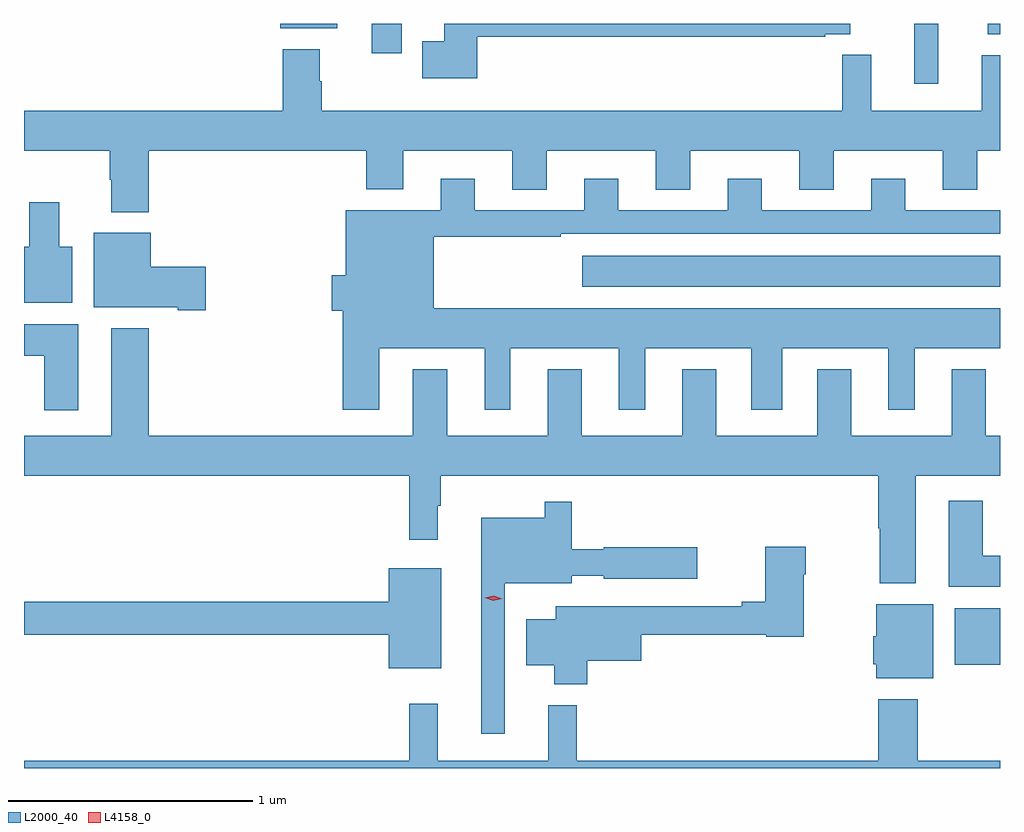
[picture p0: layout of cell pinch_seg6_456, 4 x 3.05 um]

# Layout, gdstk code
import gdstk
lib = gdstk.Library(unit=1e-6, precision=1e-09)
def R(c, l, rs):  # rectangles x0, y0, x1, y1
    for r in rs: c.add(gdstk.rectangle(r[:2], r[2:], *l))
def P(c, l, *ps):  # polygons
    for p in ps: c.add(gdstk.Polygon(p, *l))
L2000_40 = (2000, 40)
L4158_0 = (4158, 0)

pinch_seg6_456 = lib.new_cell('pinch_seg6_456')
R(pinch_seg6_456, L2000_40, [(796.823,915.926,797.009,916.156), (795.297,917.474,797.009,917.602), (796.658,918.306,796.755,918.553), (794.435,918.432,794.557,918.553), (796.958,918.509,797.009,918.553), (794.06,918.533,794.293,918.553)])
P(pinch_seg6_456, L2000_40, [(794.867,918.498),(796.292,918.498),(796.292,918.51),(796.396,918.51),(796.396,918.553),(794.732,918.553),(794.732,918.481),(794.642,918.481),(794.642,918.329),(794.867,918.329)],
  [(793.52,918.032),(794.411,918.032),(794.411,917.873),(794.563,917.873),(794.563,918.032),(795.011,918.032),(795.011,917.872),(795.151,917.872),(795.151,918.032),(795.599,918.032),(795.599,917.872),(795.739,917.872),(795.739,918.032),(796.187,918.032),(796.187,917.872),(796.327,917.872),(796.327,918.032),(796.775,918.032),(796.775,917.872),(796.915,917.872),(796.915,918.032),(797.009,918.032),(797.009,918.424),(796.934,918.424),(796.934,918.196),(796.481,918.196),(796.481,918.425),(796.363,918.425),(796.363,918.196),(794.229,918.196),(794.229,918.317),(794.221,918.317),(794.221,918.448),(794.069,918.448),(794.069,918.196),(793.009,918.196),(793.009,918.032),(793.36,918.032),(793.36,917.912),(793.367,917.912),(793.367,917.78),(793.52,917.78)],
  [(794.464,917.222),(794.897,917.222),(794.897,916.971),(795.001,916.971),(795.001,917.222),(795.446,917.222),(795.446,916.971),(795.556,916.971),(795.556,917.222),(795.989,917.222),(795.989,916.971),(796.117,916.971),(796.117,917.222),(796.55,917.222),(796.55,916.971),(796.66,916.971),(796.66,917.222),(797.009,917.222),(797.009,917.386),(794.689,917.386),(794.689,917.679),(795.209,917.679),(795.209,917.691),(797.009,917.691),(797.009,917.787),(796.621,917.787),(796.621,917.917),(796.481,917.917),(796.481,917.787),(796.033,917.787),(796.033,917.917),(795.893,917.917),(795.893,917.787),(795.445,917.787),(795.445,917.917),(795.305,917.917),(795.305,917.787),(794.857,917.787),(794.857,917.917),(794.717,917.917),(794.717,917.788),(794.327,917.788),(794.327,917.522),(794.27,917.522),(794.27,917.375),(794.315,917.375),(794.315,916.971),(794.464,916.971)],
  [(793.207,917.638),(793.153,917.638),(793.153,917.821),(793.031,917.821),(793.031,917.638),(793.009,917.638),(793.009,917.408),(793.207,917.408)],
  [(793.753,917.556),(793.528,917.556),(793.528,917.695),(793.295,917.695),(793.295,917.39),(793.64,917.39),(793.64,917.378),(793.753,917.378)],
  [(793.231,917.32),(793.009,917.32),(793.009,917.192),(793.091,917.192),(793.091,916.968),(793.231,916.968)],
  [(796.663,916.7),(797.009,916.7),(797.009,916.864),(796.951,916.864),(796.951,917.137),(796.811,917.137),(796.811,916.864),(796.399,916.864),(796.399,917.137),(796.259,917.137),(796.259,916.864),(795.847,916.864),(795.847,917.137),(795.707,917.137),(795.707,916.864),(795.295,916.864),(795.295,917.137),(795.155,917.137),(795.155,916.864),(794.743,916.864),(794.743,917.137),(794.603,917.137),(794.603,916.864),(793.52,916.864),(793.52,917.305),(793.367,917.305),(793.367,916.864),(793.009,916.864),(793.009,916.7),(794.587,916.7),(794.587,916.437),(794.704,916.437),(794.704,916.577),(794.716,916.577),(794.716,916.7),(796.511,916.7),(796.511,916.485),(796.516,916.485),(796.516,916.259),(796.663,916.259)],
  [(797.009,916.372),(796.939,916.372),(796.939,916.597),(796.799,916.597),(796.799,916.244),(797.009,916.244)],
  [(794.979,916.259),(795.253,916.259),(795.253,916.29),(795.384,916.29),(795.384,916.277),(795.769,916.277),(795.769,916.407),(795.384,916.407),(795.384,916.399),(795.253,916.399),(795.253,916.594),(795.144,916.594),(795.144,916.528),(794.882,916.528),(794.882,915.642),(794.979,915.642)],
  [(795.317,915.941),(795.538,915.941),(795.538,916.048),(796.05,916.048),(796.05,916.04),(796.204,916.04),(796.204,916.295),(796.212,916.295),(796.212,916.408),(796.046,916.408),(796.046,916.184),(795.95,916.184),(795.95,916.164),(795.434,916.164),(795.434,916.165),(795.188,916.165),(795.188,916.111),(795.068,916.111),(795.068,915.923),(795.182,915.923),(795.182,915.845),(795.317,915.845)],
  [(794.719,916.321),(794.504,916.321),(794.504,916.184),(793.009,916.184),(793.009,916.048),(794.504,916.048),(794.504,915.911),(794.719,915.911)],
  [(796.735,916.174),(796.502,916.174),(796.502,916.041),(796.49,916.041),(796.49,915.927),(796.502,915.927),(796.502,915.869),(796.735,915.869)],
  [(797.009,915.532),(796.671,915.532),(796.671,915.784),(796.511,915.784),(796.511,915.532),(795.275,915.532),(795.275,915.76),(795.158,915.76),(795.158,915.532),(794.705,915.532),(794.705,915.766),(794.587,915.766),(794.587,915.532),(793.009,915.532),(793.009,915.5),(797.009,915.5)])
P(pinch_seg6_456, L4158_0, [(794.933,916.188),(794.898,916.2),(794.898,916.2),(794.898,916.2),(794.934,916.208),(794.969,916.196),(794.969,916.196),(794.969,916.196)])

lib.write_gds('pinch_seg6_456.gds')
